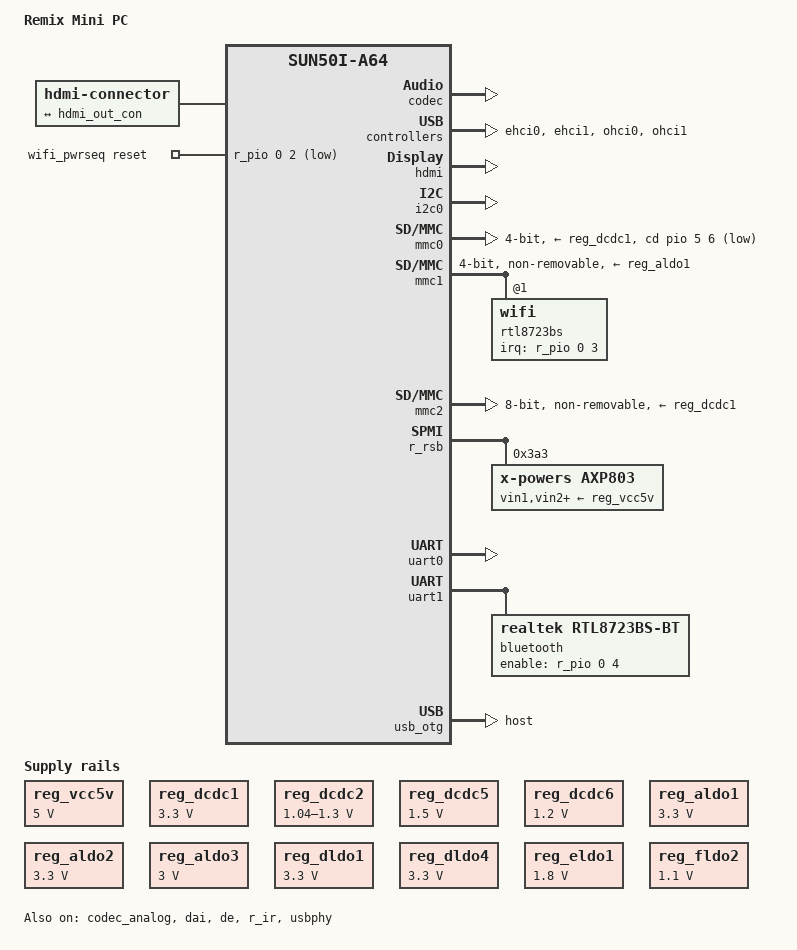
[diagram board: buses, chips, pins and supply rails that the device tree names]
// SPDX-License-Identifier: (GPL-2.0+ OR MIT)
// Copyright (c) 2023 ARM Ltd.

/dts-v1/;

#include "sun50i-a64.dtsi"
#include "sun50i-a64-cpu-opp.dtsi"

#include <dt-bindings/gpio/gpio.h>

/ {
	model = "Remix Mini PC";
	compatible = "jide,remix-mini-pc", "allwinner,sun50i-h64",
		     "allwinner,sun50i-a64";

	aliases {
		ethernet1 = &rtl8723bs;
		serial0 = &uart0;
	};

	chosen {
		stdout-path = "serial0:115200n8";
	};

	hdmi-connector {
		compatible = "hdmi-connector";
		type = "a";

		port {
			hdmi_con_in: endpoint {
				remote-endpoint = <&hdmi_out_con>;
			};
		};
	};

	reg_vcc5v: regulator-5v {
		/* board wide 5V supply directly from the DC input */
		compatible = "regulator-fixed";
		regulator-name = "vcc-5v";
		regulator-min-microvolt = <5000000>;
		regulator-max-microvolt = <5000000>;
		regulator-always-on;
	};

	wifi_pwrseq: pwrseq {
		compatible = "mmc-pwrseq-simple";
		reset-gpios = <&r_pio 0 2 GPIO_ACTIVE_LOW>; /* PL2 */
		post-power-on-delay-ms = <200>;
	};
};

&codec {
	status = "okay";
};

&codec_analog {
	cpvdd-supply = <&reg_eldo1>;
	status = "okay";
};

&cpu0 {
	cpu-supply = <&reg_dcdc2>;
};

&cpu1 {
	cpu-supply = <&reg_dcdc2>;
};

&cpu2 {
	cpu-supply = <&reg_dcdc2>;
};

&cpu3 {
	cpu-supply = <&reg_dcdc2>;
};

&dai {
	status = "okay";
};

&de {
	status = "okay";
};

&ehci0 {
	status = "okay";
};

&ehci1 {
	status = "okay";
};

&hdmi {
	hvcc-supply = <&reg_dldo1>;
	status = "okay";
};

&hdmi_out {
	hdmi_out_con: endpoint {
		remote-endpoint = <&hdmi_con_in>;
	};
};

/* Connects to the AC200 chip */
&i2c0 {
	pinctrl-names = "default";
	pinctrl-0 = <&i2c0_pins>;
	status = "okay";
};

&i2c0_pins {
	bias-pull-up;
};

&mmc0 {
	pinctrl-names = "default";
	pinctrl-0 = <&mmc0_pins>;
	vmmc-supply = <&reg_dcdc1>;
	cd-gpios = <&pio 5 6 GPIO_ACTIVE_LOW>;
	disable-wp;
	bus-width = <4>;
	status = "okay";
};

&mmc1 {
	pinctrl-names = "default";
	pinctrl-0 = <&mmc1_pins>;
	vmmc-supply = <&reg_aldo1>;
	vqmmc-supply = <&reg_dldo4>;
	mmc-pwrseq = <&wifi_pwrseq>;
	bus-width = <4>;
	non-removable;
	status = "okay";

	rtl8723bs: wifi@1 {
		reg = <1>;
		interrupt-parent = <&r_pio>;
		interrupts = <0 3 IRQ_TYPE_LEVEL_LOW>; /* PL3 */
		interrupt-names = "host-wake";
	};
};

&mmc2 {
	pinctrl-names = "default";
	pinctrl-0 = <&mmc2_pins>, <&mmc2_ds_pin>;
	vmmc-supply = <&reg_dcdc1>;
	vqmmc-supply = <&reg_eldo1>;
	bus-width = <8>;
	non-removable;
	mmc-hs200-1_8v;
	mmc-hs400-1_8v;
	cap-mmc-hw-reset;
	status = "okay";
};

&ohci0 {
	status = "okay";
};

&ohci1 {
	status = "okay";
};

&pio {
	vcc-pb-supply = <&reg_dcdc1>;
	vcc-pc-supply = <&reg_dcdc1>;
	vcc-pd-supply = <&reg_dcdc1>;
	vcc-pe-supply = <&reg_dcdc1>;
	vcc-pf-supply = <&reg_dcdc1>;
	vcc-pg-supply = <&reg_dldo4>;
	vcc-ph-supply = <&reg_dcdc1>;
};

&r_ir {
	status = "okay";
};

&r_pio {
	/*
	 * We cannot add that supply for now since it would create a circular
	 * dependency between pinctrl, the regulator and the RSB Bus.
	 *
	 * vcc-pl-supply = <&reg_aldo2>;
	 */
};

&r_rsb {
	status = "okay";

	axp803: pmic@3a3 {
		compatible = "x-powers,axp803";
		reg = <0x3a3>;
		interrupt-parent = <&r_intc>;
		interrupts = <GIC_SPI 0 IRQ_TYPE_LEVEL_LOW>;
		x-powers,drive-vbus-en;

		vin1-supply = <&reg_vcc5v>;
		vin2-supply = <&reg_vcc5v>;
		vin3-supply = <&reg_vcc5v>;
		vin5-supply = <&reg_vcc5v>;
		vin6-supply = <&reg_vcc5v>;
		aldoin-supply = <&reg_vcc5v>;
		dldoin-supply = <&reg_vcc5v>;
		eldoin-supply = <&reg_vcc5v>;
		fldoin-supply = <&reg_vcc5v>;
		drivevbus-supply = <&reg_vcc5v>;
		ips-supply = <&reg_vcc5v>;

		status = "okay";
	};
};

#include "axp803.dtsi"

&ac_power_supply {
	status = "okay";
};

&reg_dcdc1 {
	regulator-always-on;
	regulator-min-microvolt = <3300000>;
	regulator-max-microvolt = <3300000>;
	regulator-name = "vcc-3v3";
};

&reg_dcdc2 {
	regulator-always-on;
	regulator-min-microvolt = <1040000>;
	regulator-max-microvolt = <1300000>;
	regulator-name = "vdd-cpux";
};

/* DCDC3 is polyphased with DCDC2 */

&reg_dcdc5 {
	regulator-always-on;
	regulator-min-microvolt = <1500000>;
	regulator-max-microvolt = <1500000>;
	regulator-name = "vcc-dram";
};

/* Deviates from the reset default of 1.1V. */
&reg_dcdc6 {
	regulator-always-on;
	regulator-min-microvolt = <1200000>;
	regulator-max-microvolt = <1200000>;
	regulator-name = "vdd-sys";
};

&reg_aldo1 {
	regulator-min-microvolt = <3300000>;
	regulator-max-microvolt = <3300000>;
	regulator-name = "vcc-wifi";
};

&reg_aldo2 {
	/* Specifying R_PIO consumer would create circular dependency. */
	regulator-always-on;
	regulator-min-microvolt = <3300000>;
	regulator-max-microvolt = <3300000>;
	regulator-name = "vcc-pl";
};

&reg_aldo3 {
	regulator-always-on;
	regulator-min-microvolt = <3000000>;
	regulator-max-microvolt = <3000000>;
	regulator-name = "vcc-pll-avcc";
};

/* AC200 power supply */
&reg_dldo1 {
	regulator-always-on;
	regulator-min-microvolt = <3300000>;
	regulator-max-microvolt = <3300000>;
	regulator-name = "vcc-ave-33";
};

&reg_dldo4 {
	regulator-min-microvolt = <3300000>;
	regulator-max-microvolt = <3300000>;
	regulator-name = "vcc-wifi-io";
};

&reg_drivevbus {
	regulator-name = "usb0-vbus";
	status = "okay";
};

&reg_eldo1 {
	regulator-always-on;
	regulator-min-microvolt = <1800000>;
	regulator-max-microvolt = <1800000>;
	regulator-name = "vcc-cpvdd-dram-emmc";
};

/* Supplies the arisc management core, needed by TF-A to power off cores. */
&reg_fldo2 {
	regulator-always-on;
	regulator-min-microvolt = <1100000>;
	regulator-max-microvolt = <1100000>;
	regulator-name = "vdd-cpus";
};

&reg_rtc_ldo {
	regulator-name = "vcc-rtc";
};

&simplefb_hdmi {
	vcc-hdmi-supply = <&reg_dcdc1>;
};

&sound {
	simple-audio-card,aux-devs = <&codec_analog>;
	simple-audio-card,widgets = "Microphone", "Microphone Jack",
				    "Headphone", "Headphone Jack";
	simple-audio-card,routing =
			"Left DAC", "DACL",
			"Right DAC", "DACR",
			"Headphone Jack", "HP",
			"ADCL", "Left ADC",
			"ADCR", "Right ADC",
			"MIC2", "Microphone Jack";
	status = "okay";
};

/* On the (unpopulated) UART pads. */
&uart0 {
	pinctrl-names = "default";
	pinctrl-0 = <&uart0_pb_pins>;
	status = "okay";
};

&uart1 {
	pinctrl-names = "default";
	pinctrl-0 = <&uart1_pins>, <&uart1_rts_cts_pins>;
	uart-has-rtscts;
	status = "okay";

	bluetooth {
		compatible = "realtek,rtl8723bs-bt";
		enable-gpios = <&r_pio 0 4 GPIO_ACTIVE_HIGH>; /* PL4 */
		max-speed = <1500000>;
	};
};

&usb_otg {
	dr_mode = "host";
	status = "okay";
};

&usbphy {
	usb0_vbus-supply = <&reg_drivevbus>;
	usb1_vbus-supply = <&reg_drivevbus>;
	status = "okay";
};
